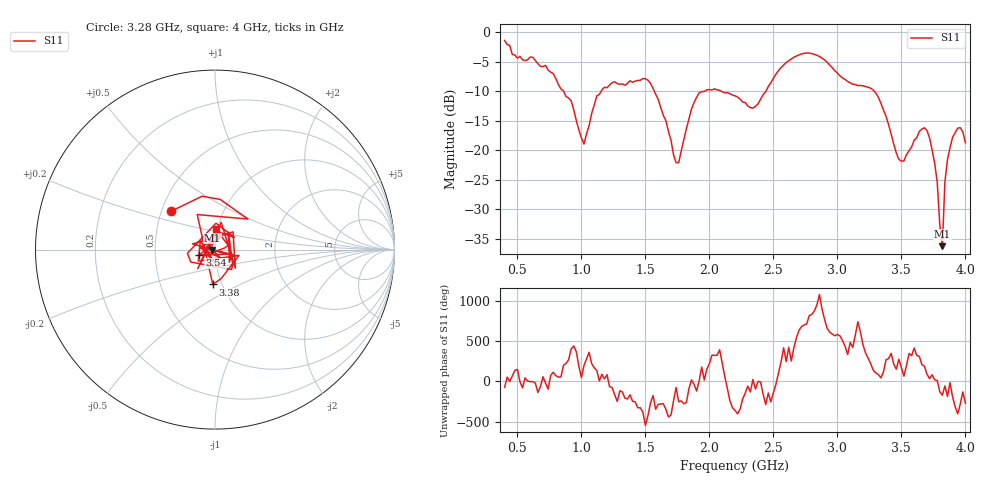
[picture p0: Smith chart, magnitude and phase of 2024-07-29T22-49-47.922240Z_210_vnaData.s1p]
!Created with skrf (http://scikit-rf.org).
# Hz S RI R 50.0
!freq ReS11 ImS11
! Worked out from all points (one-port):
!   181 points, 400 MHz to 4 GHz, reference 50 ohm
!   lowest |S11| = -36.2 dB at 3.82 GHz (marker M1), VSWR 1.03, Z = 48.5 - j0.182 ohm
!   |S11| at or under -10 dB: 1.57 GHz to 1.962 GHz (391.9 MHz wide, 22.2 % of centre); 2.094 GHz to 2.441 GHz (347 MHz wide, 15.3 % of centre); 3.289 GHz to end of sweep (the widest 3 of 4)
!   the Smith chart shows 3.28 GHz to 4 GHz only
!   S11 on the Smith chart (normalised r, x): 3.28 GHz: 0.56, +0.27; 3.38 GHz: 0.91, -0.37; 3.54 GHz: 0.84, -0.05; 4 GHz: 0.98, +0.23
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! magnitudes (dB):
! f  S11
! 400 MHz  -1.4
! 720 MHz  -5.6
! 860 MHz  -9.9
! 920 MHz  -11.6
! 1.02 GHz  -18.9
! 1.12 GHz  -10.8
! 1.3 GHz  -8.8
! 1.54 GHz  -8.6
! 1.76 GHz  -22.1
! 1.92 GHz  -10.3
! 2.2 GHz  -10.8
! 2.34 GHz  -12.8
! 2.66 GHz  -4.2
! 2.84 GHz  -3.9
! 3.1 GHz  -8.6
! 3.28 GHz  -9.8
! 3.38 GHz  -14.2
! 3.48 GHz  -21.5
! 3.54 GHz  -20.7
! 3.56 GHz  -20.1
! 3.7 GHz  -16.6
! 3.78 GHz  -25.4
! 3.8 GHz  -32.6
! 3.82 GHz  -36.2
! 3.84 GHz  -25.4
! 3.88 GHz  -19.5
! 3.94 GHz  -16.2
! 4 GHz  -18.7
